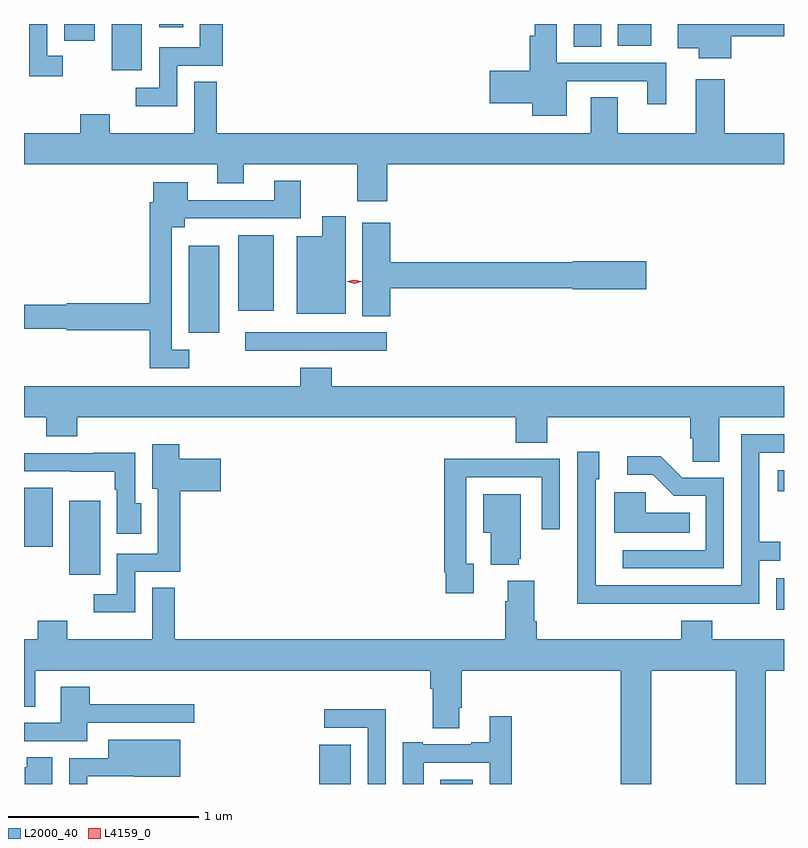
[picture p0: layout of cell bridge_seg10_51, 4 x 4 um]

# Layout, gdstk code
import gdstk
lib = gdstk.Library(unit=1e-6, precision=1e-09)
def R(c, l, rs):  # rectangles x0, y0, x1, y1
    for r in rs: c.add(gdstk.rectangle(r[:2], r[2:], *l))
def P(c, l, *ps):  # polygons
    for p in ps: c.add(gdstk.Polygon(p, *l))
L2000_40 = (2000, 40)
L4159_0 = (4159, 0)

bridge_seg10_51 = lib.new_cell('bridge_seg10_51')
R(bridge_seg10_51, L2000_40, [(868.196,1249.103,868.363,1249.309), (868.835,1249.103,869.005,1249.126), (870.603,1250.019,870.643,1250.187), (866.882,1250.204,867.043,1250.593), (866.643,1250.352,866.794,1250.663), (870.609,1250.645,870.643,1250.755), (867.807,1251.384,868.552,1251.48), (867.509,1251.479,867.67,1251.937), (867.77,1251.593,867.958,1251.991), (867.104,1252.86,867.262,1253.103), (869.537,1252.984,869.68,1253.103), (869.768,1252.988,869.944,1253.103), (866.855,1253.016,867.016,1253.103), (867.354,1253.085,867.481,1253.103)])
P(bridge_seg10_51, L2000_40, [(869.5,1252.803),(869.924,1252.803),(869.924,1252.68),(870.022,1252.68),(870.022,1252.899),(869.448,1252.899),(869.448,1253.103),(869.332,1253.103),(869.332,1253.041),(869.306,1253.041),(869.306,1252.856),(869.094,1252.856),(869.094,1252.685),(869.318,1252.685),(869.318,1252.619),(869.5,1252.619)],
  [(870.365,1253.039),(870.643,1253.039),(870.643,1253.103),(870.083,1253.103),(870.083,1252.976),(870.194,1252.976),(870.194,1252.922),(870.365,1252.922)],
  [(866.848,1252.935),(866.766,1252.935),(866.766,1253.103),(866.67,1253.103),(866.67,1252.827),(866.848,1252.827)],
  [(867.45,1252.884),(867.688,1252.884),(867.688,1253.103),(867.569,1253.103),(867.569,1252.98),(867.354,1252.98),(867.354,1252.767),(867.231,1252.767),(867.231,1252.67),(867.45,1252.67)],
  [(868.556,1252.364),(870.643,1252.364),(870.643,1252.528),(870.332,1252.528),(870.332,1252.813),(870.179,1252.813),(870.179,1252.528),(869.767,1252.528),(869.767,1252.718),(869.627,1252.718),(869.627,1252.528),(867.658,1252.528),(867.658,1252.799),(867.539,1252.799),(867.539,1252.528),(867.093,1252.528),(867.093,1252.627),(866.938,1252.627),(866.938,1252.528),(866.643,1252.528),(866.643,1252.364),(867.659,1252.364),(867.659,1252.265),(867.799,1252.265),(867.799,1252.364),(868.396,1252.364),(868.396,1252.17),(868.556,1252.17)],
  [(867.514,1251.388),(867.42,1251.388),(867.42,1252.034),(867.49,1252.034),(867.49,1252.08),(868.099,1252.08),(868.099,1252.279),(867.959,1252.279),(867.959,1252.176),(867.505,1252.176),(867.505,1252.27),(867.323,1252.27),(867.323,1252.166),(867.304,1252.166),(867.304,1251.632),(866.868,1251.632),(866.868,1251.626),(866.643,1251.626),(866.643,1251.498),(866.868,1251.498),(866.868,1251.49),(867.304,1251.49),(867.304,1251.291),(867.514,1251.291)],
  [(868.336,1252.09),(868.214,1252.09),(868.214,1251.985),(868.079,1251.985),(868.079,1251.578),(868.336,1251.578)],
  [(868.571,1251.712),(869.532,1251.712),(869.532,1251.707),(869.917,1251.707),(869.917,1251.854),(869.532,1251.854),(869.532,1251.848),(868.571,1251.848),(868.571,1252.057),(868.424,1252.057),(868.424,1251.565),(868.571,1251.565)],
  [(870.301,1251.032),(870.643,1251.032),(870.643,1251.196),(868.262,1251.196),(868.262,1251.295),(868.097,1251.295),(868.097,1251.196),(866.643,1251.196),(866.643,1251.032),(866.759,1251.032),(866.759,1250.933),(866.924,1250.933),(866.924,1251.032),(869.231,1251.032),(869.231,1250.899),(869.396,1250.899),(869.396,1251.032),(870.149,1251.032),(870.149,1250.923),(870.162,1250.923),(870.162,1250.8),(870.301,1250.8)],
  [(870.017,1250.052),(870.513,1250.052),(870.513,1250.277),(870.623,1250.277),(870.623,1250.378),(870.513,1250.378),(870.513,1250.847),(870.643,1250.847),(870.643,1250.943),(870.417,1250.943),(870.417,1250.148),(869.653,1250.148),(869.653,1250.384),(869.652,1250.384),(869.652,1250.706),(869.671,1250.706),(869.671,1250.851),(869.556,1250.851),(869.556,1250.357),(869.554,1250.357),(869.554,1250.051),(870.017,1250.051)],
  [(867.228,1250.22),(867.466,1250.22),(867.466,1250.645),(867.679,1250.645),(867.679,1250.815),(867.461,1250.815),(867.461,1250.89),(867.317,1250.89),(867.317,1250.657),(867.347,1250.657),(867.347,1250.316),(867.132,1250.316),(867.132,1250.103),(867.009,1250.103),(867.009,1250.006),(867.228,1250.006)],
  [(867.259,1250.58),(867.228,1250.58),(867.228,1250.846),(867.007,1250.846),(867.007,1250.844),(866.643,1250.844),(866.643,1250.748),(866.89,1250.748),(866.89,1250.747),(867.12,1250.747),(867.12,1250.651),(867.132,1250.651),(867.132,1250.421),(867.259,1250.421)],
  [(870.327,1250.715),(870.108,1250.715),(869.995,1250.828),(869.817,1250.828),(869.817,1250.73),(869.951,1250.73),(870.062,1250.619),(870.231,1250.619),(870.231,1250.334),(869.793,1250.334),(869.793,1250.238),(870.327,1250.238)],
  [(869.011,1250.262),(868.971,1250.262),(868.971,1250.718),(869.367,1250.718),(869.367,1250.445),(869.463,1250.445),(869.463,1250.814),(869.147,1250.814),(869.147,1250.816),(868.855,1250.816),(868.855,1250.218),(868.863,1250.218),(868.863,1250.106),(869.011,1250.106)],
  [(870.146,1250.53),(869.916,1250.53),(869.916,1250.638),(869.75,1250.638),(869.75,1250.426),(870.146,1250.426)],
  [(869.246,1250.289),(869.257,1250.289),(869.257,1250.629),(869.06,1250.629),(869.06,1250.426),(869.099,1250.426),(869.099,1250.258),(869.246,1250.258)],
  [(869.943,1249.7),(870.388,1249.7),(870.388,1249.103),(870.548,1249.103),(870.548,1249.7),(870.643,1249.7),(870.643,1249.864),(870.266,1249.864),(870.266,1249.963),(870.101,1249.963),(870.101,1249.864),(869.342,1249.864),(869.342,1249.96),(869.329,1249.96),(869.329,1250.173),(869.189,1250.173),(869.189,1250.066),(869.177,1250.066),(869.177,1249.864),(867.436,1249.864),(867.436,1250.135),(867.317,1250.135),(867.317,1249.864),(866.871,1249.864),(866.871,1249.963),(866.716,1249.963),(866.716,1249.864),(866.643,1249.864),(866.643,1249.51),(866.701,1249.51),(866.701,1249.7),(868.781,1249.7),(868.781,1249.604),(868.793,1249.604),(868.793,1249.396),(868.933,1249.396),(868.933,1249.504),(868.946,1249.504),(868.946,1249.7),(869.783,1249.7),(869.783,1249.103),(869.943,1249.103)],
  [(866.977,1249.425),(867.538,1249.425),(867.538,1249.522),(866.99,1249.522),(866.99,1249.615),(866.837,1249.615),(866.837,1249.425),(866.643,1249.425),(866.643,1249.329),(866.977,1249.329)],
  [(868.548,1249.496),(868.224,1249.496),(868.224,1249.398),(868.452,1249.398),(868.452,1249.103),(868.548,1249.103)],
  [(868.747,1249.215),(869.094,1249.215),(869.094,1249.103),(869.21,1249.103),(869.21,1249.459),(869.093,1249.459),(869.093,1249.324),(868.997,1249.324),(868.997,1249.311),(868.741,1249.311),(868.741,1249.324),(868.637,1249.324),(868.637,1249.103),(868.747,1249.103)],
  [(866.976,1249.143),(867.222,1249.143),(867.222,1249.142),(867.466,1249.142),(867.466,1249.336),(867.086,1249.336),(867.086,1249.239),(866.88,1249.239),(866.88,1249.103),(866.976,1249.103)],
  [(866.791,1249.244),(866.657,1249.244),(866.657,1249.191),(866.648,1249.191),(866.648,1249.103),(866.791,1249.103)])
P(bridge_seg10_51, L4159_0, [(868.381,1251.737),(868.343,1251.747),(868.343,1251.747),(868.343,1251.748),(868.381,1251.757),(868.418,1251.748),(868.418,1251.747),(868.418,1251.747)])

lib.write_gds('bridge_seg10_51.gds')
